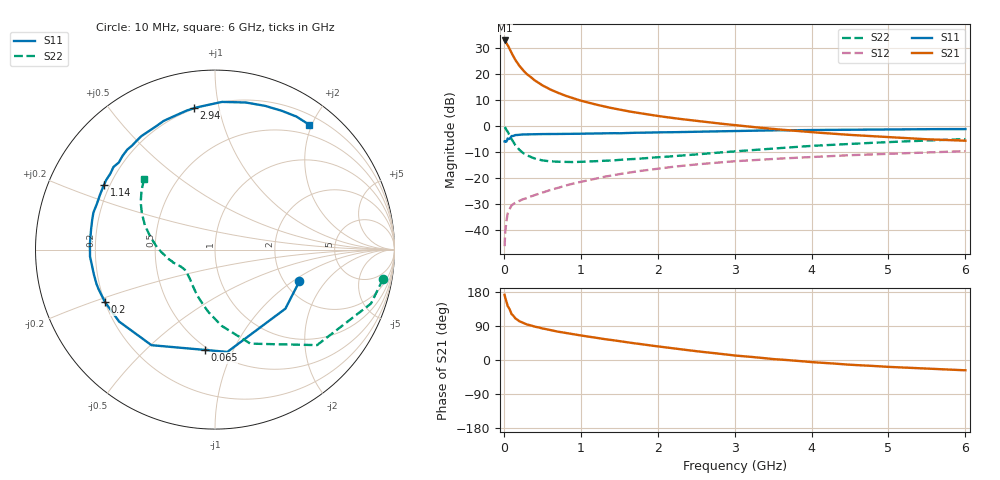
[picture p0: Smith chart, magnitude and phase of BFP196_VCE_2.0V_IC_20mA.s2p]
! Infineon Technologies  Discrete & RF Semiconductors
! BFP196
! VCE = 2.0 V,  IC =  20mA
! Common Emitter S-Parameters:  Jan 2016
# GHz  S  MA  R  50
!  f  S11  S21  S12  S22
! GHz  MAG  ANG  MAG  ANG  MAG  ANG  MAG  ANG
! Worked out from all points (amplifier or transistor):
!   210 points, 10 MHz to 6 GHz, reference 50 ohm
!   highest |S21| = 33.0 dB at 10 MHz (marker M1)
!   |S21| within 3 dB of that: start of sweep to 69.77 MHz
!   unconditionally stable (mu >= 1): 642.6 MHz to 3.477 GHz; 3.546 GHz to 3.959 GHz; 4.091 GHz to 4.263 GHz
!   at 185 MHz: K = 0.48, MSG = 26.5 dB, |S12| = -29.1 dB
!   at 1.52 GHz: K = 1.12, MAG = 10.3 dB, |S12| = -18.5 dB
!   at 6 GHz: K = 0.97, MSG = 2.0 dB, |S12| = -9.7 dB
!   S11 on the Smith chart (normalised r, x): 10 MHz: 2.39, -1.14; 65 MHz: 0.48, -0.78; 200 MHz: 0.20, -0.22; 1.14 GHz: 0.18, +0.26; 2.94 GHz: 0.20, +0.84; 6 GHz: 0.34, +1.96
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0.01  0.5023 -20.7  44.66 172.0  0.0048 85.6  0.9507 -9.9
0.02  0.512 -40.0  42.99 162.7  0.0096 76.3  0.9196 -19.1
0.05  0.5742 -83.1  36.4 142.4  0.0206 59.0  0.7788 -43.1
0.065  0.5618 -95.9  32.73 137.6  0.0231 54.0  0.6997 -49.2
0.1  0.6394 -123.6  25.5 121.3  0.0293 45.8  0.5597 -69.4
0.15  0.6679 -143.1  18.7 109.7  0.0333 40.2  0.4258 -85.1
0.2  0.6791 -154.5  14.62 102.5  0.0358 39.7  0.3495 -96.1
0.24  0.6848 -161.0  12.39 98.6  0.0381 40.3  0.3096 -102.9
0.3  0.6887 -168.0  9.986 93.8  0.0406 41.7  0.2724 -111.5
0.4  0.6973 -176.8  7.605 88.1  0.0464 44.7  0.2355 -122.0
0.5  0.6979 177.4  6.09 83.3  0.0515 47.4  0.217 -129.4
0.6  0.699 171.7  5.094 79.0  0.0579 49.6  0.2081 -134.9
0.7  0.7035 167.0  4.391 74.9  0.0636 51.0  0.2045 -139.2
1.02  0.7103 154.0  3.028 64.2  0.085 52.7  0.2038 -147.9
1.14  0.7159 149.7  2.721 60.5  0.0931 52.6  0.2073 -150.4
1.6  0.7336 134.6  1.942 46.7  0.1243 50.0  0.2271 -158.4
2.02  0.7537 122.4  1.548 35.5  0.1515 45.7  0.25 -165.2
2.94  0.7958 98.6  1.059 13.4  0.2053 34.6  0.3186 178.6
3.1  0.8018 95.3  1.001 10.3  0.213 32.5  0.3317 175.7
4.1  0.8383 76.7  0.741 -6.8  0.2563 20.7  0.4204 159.4
5.1  0.8597 63.1  0.597 -19.0  0.2948 9.6  0.4963 146.3
6  0.8716 52.9  0.52 -27.2  0.3265 -0.5  0.5577 135.1
